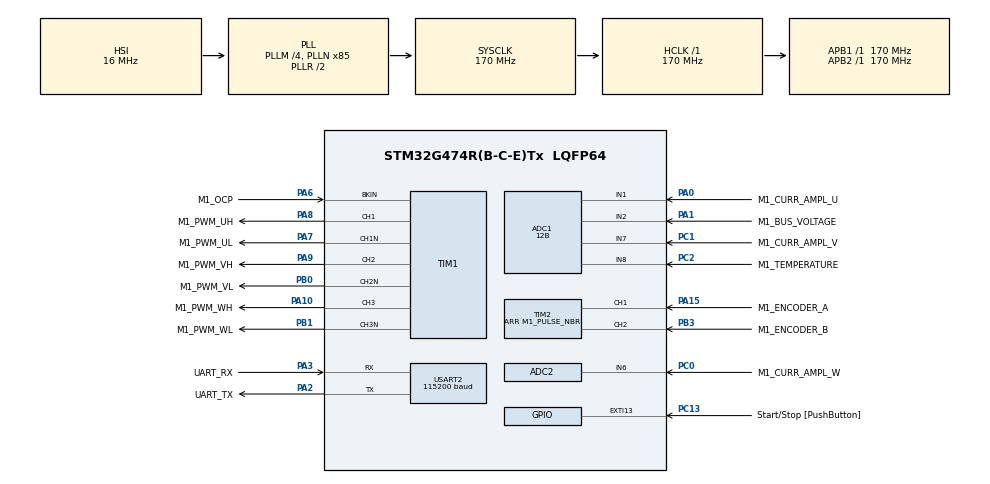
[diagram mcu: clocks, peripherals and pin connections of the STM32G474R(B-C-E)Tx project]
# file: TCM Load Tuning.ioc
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ADC1.Channel-1\#ChannelRegularConversion=ADC_CHANNEL_2
ADC1.Channel-2\#ChannelRegularConversion=ADC_CHANNEL_8
ADC1.ClockPrescaler=ADC_CLOCK_ASYNC_DIV1
ADC1.ContinuousConvMode=DISABLE
ADC1.DMAContinuousRequests=DISABLE
ADC1.DataAlign=ADC_DATAALIGN_LEFT
ADC1.DiscontinuousConvMode=DISABLE
ADC1.EOCSelection=ADC_EOC_SINGLE_CONV
ADC1.EnableAnalogWatchDog1=false
ADC1.EnableAnalogWatchDog2=false
ADC1.EnableAnalogWatchDog3=false
ADC1.EnableInjectedConversion=ENABLE
ADC1.EnableRegularConversion=ENABLE
ADC1.ExternalTrigConv=ADC_SOFTWARE_START
ADC1.ExternalTrigConvEdge=ADC_EXTERNALTRIGCONVEDGE_NONE
ADC1.ExternalTrigInjecConv=ADC_EXTERNALTRIGINJEC_T1_TRGO
ADC1.ExternalTrigInjecConvEdge=ADC_EXTERNALTRIGINJECCONV_EDGE_RISING
ADC1.InjNumberOfConversion=2
ADC1.InjectedChannel-1\#ChannelInjectedConversion=ADC_CHANNEL_1
ADC1.InjectedChannel-2\#ChannelInjectedConversion=ADC_CHANNEL_7
ADC1.InjectedConvMode=None
ADC1.InjectedOffset-1\#ChannelInjectedConversion=0
ADC1.InjectedOffset-2\#ChannelInjectedConversion=0
ADC1.InjectedOffsetNumber-1\#ChannelInjectedConversion=ADC_OFFSET_NONE
ADC1.InjectedOffsetNumber-2\#ChannelInjectedConversion=ADC_OFFSET_NONE
ADC1.InjectedRank-1\#ChannelInjectedConversion=1
ADC1.InjectedRank-2\#ChannelInjectedConversion=2
ADC1.InjectedSamplingTime-1\#ChannelInjectedConversion=ADC_SAMPLETIME_6CYCLES_5
ADC1.InjectedSamplingTime-2\#ChannelInjectedConversion=ADC_SAMPLETIME_6CYCLES_5
ADC1.LowPowerAutoWait=DISABLE
ADC1.NbrOfConversion=2
ADC1.NbrOfConversionFlag=1
ADC1.Offset-1\#ChannelRegularConversion=0
ADC1.Offset-2\#ChannelRegularConversion=0
ADC1.OffsetNumber-1\#ChannelRegularConversion=ADC_OFFSET_NONE
ADC1.OffsetNumber-2\#ChannelRegularConversion=ADC_OFFSET_NONE
ADC1.Overrun=ADC_OVR_DATA_PRESERVED
ADC1.Rank-1\#ChannelRegularConversion=1
ADC1.Rank-2\#ChannelRegularConversion=2
ADC1.Resolution=ADC_RESOLUTION_12B
ADC1.SamplingTime-1\#ChannelRegularConversion=ADC_SAMPLETIME_47CYCLES_5
ADC1.SamplingTime-2\#ChannelRegularConversion=ADC_SAMPLETIME_47CYCLES_5
ADC1.ScanConvMode=ADC_SCAN_ENABLE
ADC1.master=1
ADC2.ClockPrescaler=ADC_CLOCK_ASYNC_DIV1
ADC2.ContinuousConvMode=DISABLE
ADC2.DMAContinuousRequests=DISABLE
ADC2.DataAlign=ADC_DATAALIGN_LEFT
ADC2.DiscontinuousConvMode=DISABLE
ADC2.EOCSelection=ADC_EOC_SINGLE_CONV
ADC2.EnableAnalogWatchDog1=false
ADC2.EnableAnalogWatchDog2=false
ADC2.EnableAnalogWatchDog3=false
ADC2.EnableInjectedConversion=ENABLE
ADC2.EnableRegularConversion=DISABLE
ADC2.ExternalTrigInjecConv=ADC_EXTERNALTRIGINJEC_T1_TRGO
ADC2.ExternalTrigInjecConvEdge=ADC_EXTERNALTRIGINJECCONV_EDGE_RISING
ADC2.InjNumberOfConversion=2
ADC2.InjectedChannel-1\#ChannelInjectedConversion=ADC_CHANNEL_7
ADC2.InjectedChannel-2\#ChannelInjectedConversion=ADC_CHANNEL_6
ADC2.InjectedConvMode=None
ADC2.InjectedOffset-1\#ChannelInjectedConversion=0
ADC2.InjectedOffset-2\#ChannelInjectedConversion=0
ADC2.InjectedOffsetNumber-1\#ChannelInjectedConversion=ADC_OFFSET_NONE
ADC2.InjectedOffsetNumber-2\#ChannelInjectedConversion=ADC_OFFSET_NONE
ADC2.InjectedRank-1\#ChannelInjectedConversion=1
ADC2.InjectedRank-2\#ChannelInjectedConversion=2
ADC2.InjectedSamplingTime-1\#ChannelInjectedConversion=ADC_SAMPLETIME_6CYCLES_5
ADC2.InjectedSamplingTime-2\#ChannelInjectedConversion=ADC_SAMPLETIME_6CYCLES_5
ADC2.LowPowerAutoWait=DISABLE
ADC2.Overrun=ADC_OVR_DATA_PRESERVED
ADC2.Resolution=ADC_RESOLUTION_12B
ADC2.ScanConvMode=ADC_SCAN_ENABLE
ADC2.master=1
Dma.Request0=USART2_RX
Dma.Request1=USART2_TX
Dma.USART2_RX.0.Direction=DMA_PERIPH_TO_MEMORY
Dma.USART2_RX.0.EventEnable=DISABLE
Dma.USART2_RX.0.Instance=DMA1_Channel1
Dma.USART2_RX.0.MemDataAlignment=DMA_MDATAALIGN_BYTE
Dma.USART2_RX.0.MemInc=DMA_MINC_ENABLE
Dma.USART2_RX.0.Mode=DMA_NORMAL
Dma.USART2_RX.0.PeriphDataAlignment=DMA_PDATAALIGN_BYTE
Dma.USART2_RX.0.PeriphInc=DMA_PINC_DISABLE
Dma.USART2_RX.0.Polarity=HAL_DMAMUX_REQ_GEN_RISING
Dma.USART2_RX.0.Priority=DMA_PRIORITY_LOW
Dma.USART2_RX.0.RequestNumber=1
Dma.USART2_RX.0.SignalID=NONE
Dma.USART2_RX.0.SyncEnable=DISABLE
Dma.USART2_RX.0.SyncPolarity=HAL_DMAMUX_SYNC_NO_EVENT
Dma.USART2_RX.0.SyncRequestNumber=1
Dma.USART2_RX.0.SyncSignalID=NONE
Dma.USART2_TX.1.Direction=DMA_MEMORY_TO_PERIPH
Dma.USART2_TX.1.EventEnable=DISABLE
Dma.USART2_TX.1.Instance=DMA1_Channel2
Dma.USART2_TX.1.MemDataAlignment=DMA_MDATAALIGN_BYTE
Dma.USART2_TX.1.MemInc=DMA_MINC_ENABLE
Dma.USART2_TX.1.Mode=DMA_NORMAL
Dma.USART2_TX.1.PeriphDataAlignment=DMA_PDATAALIGN_BYTE
Dma.USART2_TX.1.PeriphInc=DMA_PINC_DISABLE
Dma.USART2_TX.1.Polarity=HAL_DMAMUX_REQ_GEN_RISING
Dma.USART2_TX.1.Priority=DMA_PRIORITY_LOW
Dma.USART2_TX.1.RequestNumber=1
Dma.USART2_TX.1.SignalID=NONE
Dma.USART2_TX.1.SyncEnable=DISABLE
Dma.USART2_TX.1.SyncPolarity=HAL_DMAMUX_SYNC_NO_EVENT
Dma.USART2_TX.1.SyncRequestNumber=1
Dma.USART2_TX.1.SyncSignalID=NONE
ExtraMW=MotorControl
ExtraMW.MotorControl.Config=MotorControl
ExtraMW.MotorControl.Mode=MotorControl
ExtraMW.MotorControl.Root=MCSDK_v6.3.0-Full/MotorControl
ExtraMW.MotorControl.Template=templates
Mcu.Family=STM32G4
Mcu.Name=STM32G474R(B-C-E)Tx
Mcu.Package=LQFP64
MotorControl.ADC_1_PERIPH=ADC1
MotorControl.ADC_2_PERIPH=ADC2
MotorControl.ADC_AHBPERIPH=RCC_AHBPeriph_ADC12
MotorControl.ADC_CLOCK_WB_DIV=1
MotorControl.ADC_PERIPH=ADC1
MotorControl.ADC_REFERENCE_VOLTAGE=3.3
MotorControl.BOARD=NUCLEO-G474RE
MotorControl.BUS_VOLTAGE_READING=true
MotorControl.CCMRAM_ENABLED=false
MotorControl.CLOCK_FREQUENCY=CPU_CLK_170_MHZ
MotorControl.CLOCK_SOURCE=EXTERNAL
MotorControl.CPU_CLK_170_MHZ=true
MotorControl.CTLBOARD_NAME=NUCLEO-G474RE
MotorControl.CUBE_MX_VER=6.12.1
MotorControl.CURRENT_READING_TOPOLOGY=THREE_SHUNT_INDEPENDENT_RESOURCES
MotorControl.CURR_SAMPLING_TIME=6
MotorControl.DBG_MCU_LOAD_MEASURE=false
MotorControl.DEBUG_DAC_FUNCTIONALITY_EN=false
MotorControl.DRIVES_NUMBER_SELECTION=SINGLEDRIVE
MotorControl.DRIVE_NUMBER=1
MotorControl.DRIVE_TYPE=FOC
MotorControl.EMERGENCY_STOP_GPIO_PIN=LL_GPIO_PIN_6
MotorControl.EMERGENCY_STOP_GPIO_PORT=GPIOA
MotorControl.ENCODER=true
MotorControl.ENCODER_AVAILABLE=true
MotorControl.ENCODER_PPR=5000
MotorControl.ENC_A_GPIO_PIN=LL_GPIO_PIN_15
MotorControl.ENC_A_GPIO_PORT=GPIOA
MotorControl.ENC_B_GPIO_PIN=LL_GPIO_PIN_3
MotorControl.ENC_B_GPIO_PORT=GPIOB
MotorControl.ENC_ICx_FILTER=119
MotorControl.ENC_INVERT_SPEED=false
MotorControl.ENC_TIMER_SELECTION=ENC_TIM2
MotorControl.ENC_USE_CH3=false
MotorControl.EXT_CLK_24_MHZ=true
MotorControl.EXT_CLOCK_FREQUENCY=EXT_CLK_24_MHZ
MotorControl.FEEDBACK_NET_FILTERING=false
MotorControl.HALL_SENSORS_AVAILABLE=false
MotorControl.HIGH_SIDE_IDLE_STATE=false
MotorControl.HWV_CS=ThreeShunt_AmplifiedCurrents
MotorControl.HWV_OCP=OnPowerStageOCP
MotorControl.HWV_PWM=DrivingHighAndLowSides
MotorControl.HW_COMPLEMENTED_LOW_SIDE=false
MotorControl.HW_DEAD_TIME_NS=1000
MotorControl.IPs=CORDIC,SYS,NVIC,RCC,MotorControl,TIM1,ADC1,ADC2,TIM2,USART2,DMA
MotorControl.LOW_MEMORY_FOOTPRINT_REG=false
MotorControl.LOW_SIDE_IDLE_STATE=false
MotorControl.LOW_SIDE_SIGNALS_ENABLING=LS_PWM_TIMER
MotorControl.M1_ALIGNMENT_ANGLE_DEG=90
MotorControl.M1_ALIGNMENT_DURATION=700
MotorControl.M1_AMPLIFICATION_GAIN=5.18
MotorControl.M1_ANGC={0,0,0,0,0,0,0,0}
MotorControl.M1_AUXILIARY_SPEED_SENSOR=NONE
MotorControl.M1_BOARD_MAX_CURRENT=5
MotorControl.M1_BUS_VOLTAGE_READING=true
MotorControl.M1_COMMUTATION_STEP_TIME_BUF_SIZE=12
MotorControl.M1_CONSTANT1_D=499039
MotorControl.M1_CONSTANT1_Q=408714
MotorControl.M1_CONSTANT2_QD=92859
MotorControl.M1_CS_ADC_NUM=2
MotorControl.M1_CS_ADC_PHASE_SHARED=V
MotorControl.M1_CS_ADC_U=ADC1
MotorControl.M1_CS_ADC_W=ADC2
MotorControl.M1_CS_CHANNEL_SHARED=7
MotorControl.M1_CS_CHANNEL_U=1
MotorControl.M1_CS_CHANNEL_V=7
MotorControl.M1_CS_CHANNEL_W=6
MotorControl.M1_CURRENT_AMPLIFICATION_TOPO=EXTERNAL
MotorControl.M1_CURRENT_SENSING_TOPO=THREE_SHUNT
MotorControl.M1_CURR_SAMPLING_TIME=6
MotorControl.M1_DBG_OPEN_LOOP_ENABLE=false
MotorControl.M1_DC_CURRENT_RS_MEAS=5
MotorControl.M1_DEFAULT_CONTROL_MODE=STC_SPEED_MODE
MotorControl.M1_DEFAULT_FLUX_COMPONENT=0
MotorControl.M1_DEFAULT_TARGET_SPEED_RPM=0
MotorControl.M1_DEFAULT_TORQUE_COMPONENT=0
MotorControl.M1_DISCONTINUOUS_PWM=false
MotorControl.M1_DP_TOPOLOGY=NONE
MotorControl.M1_DRIVE_TYPE=FOC
MotorControl.M1_ENCODER_PPR=5000
MotorControl.M1_ENC_AVERAGING_FIFO_DEPTH=16
MotorControl.M1_ENC_A_GPIO_PIN=LL_GPIO_PIN_15
MotorControl.M1_ENC_A_GPIO_PORT=GPIOA
MotorControl.M1_ENC_B_GPIO_PIN=LL_GPIO_PIN_3
MotorControl.M1_ENC_B_GPIO_PORT=GPIOB
MotorControl.M1_ENC_ICx_FILTER=119
MotorControl.M1_ENC_TIMER_SELECTION=ENC_TIM2
MotorControl.M1_ENC_USE_CH3=false
MotorControl.M1_FEED_FORWARD_CURRENT_REG_ENABLING=false
MotorControl.M1_FINAL_I_ALIGNMENT=5
MotorControl.M1_FLUX_WEAKENING_ENABLING=false
MotorControl.M1_FW_KIDIV=32768
MotorControl.M1_FW_KI_GAIN=5000
MotorControl.M1_FW_KPDIV=32768
MotorControl.M1_FW_KP_GAIN=3000
MotorControl.M1_FW_VOLTAGE_REF=985
MotorControl.M1_HALL_PHASE_SHIFT=300
MotorControl.M1_HALL_SENSORS_PLACEMENT=DEGREES_120
MotorControl.M1_HIGH_SIDE_IDLE_STATE=false
MotorControl.M1_HW_DEAD_TIME_NS=1000
MotorControl.M1_ICL_ENABLED=false
MotorControl.M1_ID_DEMAG=-5
MotorControl.M1_IQMAX=5
MotorControl.M1_LDLQ_RATIO=1.221
MotorControl.M1_LOW_SIDE_IDLE_STATE=false
MotorControl.M1_LOW_SIDE_SIGNALS_ENABLING=LS_PWM_TIMER
MotorControl.M1_LS=0.000789
MotorControl.M1_MAX_APPLICATION_SPEED=1200
MotorControl.M1_MAX_MODULATION_INDEX=94
MotorControl.M1_MIN_APPLICATION_SPEED=0
MotorControl.M1_MOTOR_MAX_SPEED_RPM=1200
MotorControl.M1_MOTOR_NAME=GEMS
MotorControl.M1_MOTOR_RATED_FLUX=0.286835249
MotorControl.M1_MOTOR_VOLTAGE_CONSTANT=11.7
MotorControl.M1_MTPA_ENABLING=false
MotorControl.M1_NOMINAL_BUS_VOLTAGE_V=24
MotorControl.M1_NOMINAL_CURRENT=5
MotorControl.M1_OCP_BKIN_FILTER=3
MotorControl.M1_OCP_BKIN_MODE=EXT_MODE
MotorControl.M1_OCP_BKIN_POLARITY=EMSTOP_ACTIVE_LOW
MotorControl.M1_OCP_DESTINATION=TIM_BKIN
MotorControl.M1_OCP_TOPOLOGY=EXTERNAL
MotorControl.M1_OFST={0,0,0,0,0,0,0,0}
MotorControl.M1_ON_OVER_VOLTAGE=TURN_OFF_PWM
MotorControl.M1_OVERMODULATION=false
MotorControl.M1_OVP_THRESHOLD_HIGH=29
MotorControl.M1_OV_TEMPERATURE_HYSTERESIS_C=10
MotorControl.M1_OV_TEMPERATURE_PROT_ENABLING=true
MotorControl.M1_OV_TEMPERATURE_THRESHOLD_C=110
MotorControl.M1_OV_VOLTAGE_PROT_ENABLING=true
MotorControl.M1_OV_VOLTAGE_THRESHOLD_V=29
MotorControl.M1_PID_FLUX_KD_DEFAULT=100
MotorControl.M1_PID_FLUX_KI_DEFAULT=3100
MotorControl.M1_PID_FLUX_KP_DEFAULT=1300
MotorControl.M1_PID_SPEED_KD_DEFAULT=0
MotorControl.M1_PID_SPEED_KI_DEFAULT=1110
MotorControl.M1_PID_SPEED_KP_DEFAULT=8456
MotorControl.M1_PID_TORQUE_KD_DEFAULT=100
MotorControl.M1_PID_TORQUE_KI_DEFAULT=3100
MotorControl.M1_PID_TORQUE_KP_DEFAULT=1300
MotorControl.M1_POLE_PAIR_NUM=2
MotorControl.M1_POSITION_CTRL_ENABLING=false
MotorControl.M1_POTENTIOMETER_ENABLE=false
MotorControl.M1_POWERBOARD_NAME=X-NUCLEO-IHM08M1
MotorControl.M1_PWM_CHARGE_BOOT_CAP_DUTY_CYCLES=0.000
MotorControl.M1_PWM_CHARGE_BOOT_CAP_MS=10
MotorControl.M1_PWM_DRIVER_PN=L6398
MotorControl.M1_PWM_FREQUENCY=30000
MotorControl.M1_PWM_TIMER_BRK_IRQ=TIM1_BRK_TIM15
MotorControl.M1_PWM_TIMER_SELECTION=PWM_TIM1
MotorControl.M1_PWM_TIMER_UP_IRQ=TIM1_UP_TIM16
MotorControl.M1_REGULATION_EXECUTION_RATE=3
MotorControl.M1_RS=0.77
MotorControl.M1_RSHUNT=0.01
MotorControl.M1_SEGDIV=0
MotorControl.M1_SHARED_SIGNAL_ENABLE=false
MotorControl.M1_SPD_DIFFERENTIAL_TERM_ENABLING=false
MotorControl.M1_SPEED_LOOP_FREQUENCY_HZ=2000
MotorControl.M1_SPEED_SENSOR=QUAD_ENCODER
MotorControl.M1_SP_KDDIV=16
MotorControl.M1_SP_KIDIV=256
MotorControl.M1_SP_KPDIV=256
MotorControl.M1_SS_MEAS_ERRORS_BEFORE_FAULTS=3
MotorControl.M1_SW_DEADTIME_NS=850
MotorControl.M1_T0_C=25
MotorControl.M1_TEMPERATURE_READING=true
MotorControl.M1_TEMP_ADC_SAMPLING_TIME=47
MotorControl.M1_TEMP_FDBK_ADC=ADC1
MotorControl.M1_TEMP_FDBK_CHANNEL=ADC_CHANNEL_8
MotorControl.M1_TF_KDDIV=8192
MotorControl.M1_TF_KIDIV=8192
MotorControl.M1_TF_KPDIV=128
MotorControl.M1_TNOISE_NS=1000
MotorControl.M1_TRISE_NS=1000
MotorControl.M1_T_MAX=110
MotorControl.M1_UD_VOLTAGE_THRESHOLD_V=10
MotorControl.M1_USE_INTERNAL_OPAMP=false
MotorControl.M1_UV_VOLTAGE_PROT_ENABLING=true
MotorControl.M1_V0_V=1.055
MotorControl.M1_VBUS_ADC=ADC1
MotorControl.M1_VBUS_ADC_SAMPLING_TIME=47
MotorControl.M1_VBUS_CHANNEL=ADC_CHANNEL_2
MotorControl.M1_VBUS_PARTITIONING_FACTOR=0.052164840897235255
MotorControl.M1_dV_dT=0.023
MotorControl.MAX_READABLE_CURRENT=31.845
MotorControl.MCPA_OVER_UART_A_STREAM=10
MotorControl.MCP_ASPEP_OVER_UART=true
MotorControl.MCP_ASYNC_EN=true
MotorControl.MCP_ASYNC_OVER_ASPEP_EN=true
MotorControl.MCP_ASYNC_OVER_UART_A_EN=true
MotorControl.MCP_DMACH_RX_UART_A=1
MotorControl.MCP_DMACH_TX_UART_A=2
MotorControl.MCP_DMA_RX_UART_A=DMA1
MotorControl.MCP_DMA_TX_UART_A=DMA1
MotorControl.MCP_EN=true
MotorControl.MCP_IRQ_HANDLER_DMA_RX_UART_A=DMA1_Channel1_IRQHandler
MotorControl.MCP_IRQ_HANDLER_UART_A=USART2_IRQHandler
MotorControl.MCP_OVER_ASPEP_EN=true
MotorControl.MCP_OVER_STLNK_EN=false
MotorControl.MCP_OVER_UART_A_EN=true
MotorControl.MCP_OVER_UART_B_EN=false
MotorControl.MCP_RX_SYNC_PAYLOAD_MAX=128
MotorControl.MCP_TX_ASYNC_PAYLOAD_MAX_UART_A=2048
MotorControl.MCP_TX_SYNC_PAYLOAD_MAX=128
MotorControl.MCU=STM32G474RE
MotorControl.MCU_FAMILY=STM32G4
MotorControl.MCU_LINE=STM32G4x4
MotorControl.MCU_NAME=STM32G474R(B-C-E)Tx
MotorControl.MCU_PACKAGE=LQFP64
MotorControl.MCU_TYPE=STM32G474RE
MotorControl.MCU_USERNAME=STM32G474RETx
MotorControl.MC_WORKBENCH_VERSION=6.3.0
MotorControl.MOTOR_PROFILER=false
MotorControl.MOTOR_TYPE=PMSM
MotorControl.ON_OVER_VOLTAGE=TURN_OFF_PWM
MotorControl.OV_TEMPERATURE_PROT_ENABLING=true
MotorControl.OV_VOLTAGE_PROT_ENABLING=true
MotorControl.PHASE_UH_GPIO_PIN=LL_GPIO_PIN_8
MotorControl.PHASE_UH_GPIO_PORT=GPIOA
MotorControl.PHASE_UH_POLARITY=H_ACTIVE_HIGH
MotorControl.PHASE_UL_GPIO_PIN=LL_GPIO_PIN_7
MotorControl.PHASE_UL_GPIO_PORT=GPIOA
MotorControl.PHASE_UL_POLARITY=L_ACTIVE_LOW
MotorControl.PHASE_U_CURR_ADC=ADC1
MotorControl.PHASE_U_CURR_CHANNEL=ADC_CHANNEL_1
MotorControl.PHASE_U_GPIO_PIN=LL_GPIO_PIN_0
MotorControl.PHASE_U_GPIO_PORT=GPIOA
MotorControl.PHASE_VH_GPIO_PIN=LL_GPIO_PIN_9
MotorControl.PHASE_VH_GPIO_PORT=GPIOA
MotorControl.PHASE_VH_POLARITY=H_ACTIVE_HIGH
MotorControl.PHASE_VL_GPIO_PIN=LL_GPIO_PIN_0
MotorControl.PHASE_VL_GPIO_PORT=GPIOB
MotorControl.PHASE_VL_POLARITY=L_ACTIVE_LOW
MotorControl.PHASE_V_CURR_ADC=ADC1
MotorControl.PHASE_V_CURR_CHANNEL=ADC_CHANNEL_7
MotorControl.PHASE_V_GPIO_PIN=LL_GPIO_PIN_1
MotorControl.PHASE_V_GPIO_PORT=GPIOC
MotorControl.PHASE_V_S_CURR_ADC=ADC2
MotorControl.PHASE_V_S_CURR_CHANNEL=ADC_CHANNEL_7
MotorControl.PHASE_V_S_GPIO_PIN=LL_GPIO_PIN_1
MotorControl.PHASE_V_S_GPIO_PORT=GPIOC
MotorControl.PHASE_WH_GPIO_PIN=LL_GPIO_PIN_10
MotorControl.PHASE_WH_GPIO_PORT=GPIOA
MotorControl.PHASE_WH_POLARITY=H_ACTIVE_HIGH
MotorControl.PHASE_WL_GPIO_PIN=LL_GPIO_PIN_1
MotorControl.PHASE_WL_GPIO_PORT=GPIOB
MotorControl.PHASE_WL_POLARITY=L_ACTIVE_LOW
MotorControl.PHASE_W_CURR_ADC=ADC2
MotorControl.PHASE_W_CURR_CHANNEL=ADC_CHANNEL_6
MotorControl.PHASE_W_GPIO_PIN=LL_GPIO_PIN_0
MotorControl.PHASE_W_GPIO_PORT=GPIOC
MotorControl.POTENTIOMETER_READING=false
MotorControl.PWM_FREQUENCY=30000
MotorControl.PWM_TIMER_SELECTION=PWM_TIM1
MotorControl.REGULATION_EXECUTION_RATE=3
MotorControl.RTOS=NONE
MotorControl.R_BRAKE_SWITCH_OFF_THRES_V=23
MotorControl.SINGLEDRIVE=true
MotorControl.SPD_DIFFERENTIAL_TERM_ENABLING=false
MotorControl.SPEED_SENSOR_SELECTION=ENCODER
MotorControl.START_STOP_BTN=true
MotorControl.START_STOP_GPIO_PIN=LL_GPIO_PIN_13
MotorControl.START_STOP_GPIO_PORT=GPIOC
MotorControl.START_STOP_POLARITY=DIN_ACTIVE_LOW
MotorControl.START_STOP_POLARITY_EDGE=GPIO_NOPULL
MotorControl.STM32G474RE=true
MotorControl.SW_DEADTIME_NS=850
MotorControl.TEMPERATURE_READING=true
MotorControl.TEMP_ADC_SAMPLING_TIME=47
MotorControl.TEMP_FDBK_ADC=ADC1
MotorControl.TEMP_FDBK_CHANNEL=ADC_CHANNEL_8
MotorControl.TEMP_FDBK_GPIO_PIN=LL_GPIO_PIN_2
MotorControl.TEMP_FDBK_GPIO_PORT=GPIOC
MotorControl.TFDIFFERENTIAL_TERM_ENABLING=false
MotorControl.THREE_SHUNT_INDEPENDENT_RESOURCES=true
MotorControl.TRISE_NS=1000
MotorControl.USART_RX_GPIO_PIN=LL_GPIO_PIN_3
MotorControl.USART_RX_GPIO_PORT=GPIOA
MotorControl.USART_SELECTION=USE_USART2
MotorControl.USART_SELECTION_A=USART2
MotorControl.USART_SPEED=115200
MotorControl.USART_TX_GPIO_PIN=LL_GPIO_PIN_2
MotorControl.USART_TX_GPIO_PORT=GPIOA
MotorControl.USE_3OPAMPS=false
MotorControl.USE_INTERNAL_OPAMP=false
MotorControl.UV_VOLTAGE_PROT_ENABLING=true
MotorControl.VBUS_ADC=ADC1
MotorControl.VBUS_ADC_SAMPLING_TIME=47
MotorControl.VBUS_CHANNEL=ADC_CHANNEL_2
MotorControl.VBUS_GPIO_PIN=LL_GPIO_PIN_1
MotorControl.VBUS_GPIO_PORT=GPIOA
MotorControl.WB_UI_CUTOFF_FREQUENCY=6000
MotorControl.WB_UI_ENCODER_HAS_INDEX_PIN=false
MotorControl.WB_UI_FLUX_TARGET=0
MotorControl.WB_UI_FRICTION=42.02
MotorControl.WB_UI_INERTIA=0.04
MotorControl.WB_UI_MAGNETIC_STRUCTURE=I-PMSM
MotorControl.WB_UI_MAX_CURRENT=5
MotorControl.WB_UI_MAX_NOMINAL_DC_VOLTAGE=24
MotorControl.WB_UI_MAX_PWMFREQUENCY=100000
MotorControl.WB_UI_MOTOR_DESCRIPTION=Profiled
MotorControl.WB_UI_OCP_DISABLING_ENABLE=false
MotorControl.WB_UI_OCP_THRESHOLD=30
MotorControl.WB_UI_PW_BOARD_MAX_RATED_CURRENT=30
MotorControl.WB_UI_PW_BOARD_MAX_VOLTAGE=48
MotorControl.WB_UI_PW_BOARD_MIN_VOLTAGE=10
MotorControl.WB_UI_VPOL=1.71
MotorControl.WB_to_Mx_template_version=24-04-17
MotorControl.WB_to_Mx_version=6.2.3
NVIC.ADC1_2_IRQn=true\:2\:0\:true\:true\:false\:5\:true\:true\:true
NVIC.DMA1_Channel1_IRQn=true\:3\:0\:true\:true\:false\:2\:true\:true\:true
NVIC.EXTI15_10_IRQn=true\:3\:0\:false\:true\:false\:7\:true\:true\:true
NVIC.PriorityGroup=NVIC_PRIORITYGROUP_3
NVIC.TIM1_BRK_TIM15_IRQn=true\:4\:1\:true\:true\:false\:3\:true\:true\:true
NVIC.TIM1_UP_TIM16_IRQn=true\:0\:0\:false\:true\:false\:4\:true\:true\:true
NVIC.TIM2_IRQn=true\:3\:0\:false\:true\:false\:6\:true\:true\:true
NVIC.USART2_IRQn=true\:3\:1\:true\:true\:false\:1\:true\:true\:true
PA0.GPIO_Label=M1_CURR_AMPL_U
PA0.Mode=IN1-Single-Ended
PA0.Signal=ADC1_IN1
PA1.GPIO_Label=M1_BUS_VOLTAGE
PA1.Mode=IN2-Single-Ended
PA1.Signal=ADC1_IN2
PA10.GPIO_Label=M1_PWM_WH
PA10.GPIO_PuPd=GPIO_PULLDOWN
PA10.GPIO_Speed=GPIO_SPEED_FREQ_HIGH
PA10.Signal=S_TIM1_CH3
PA13.GPIO_Label=TMS
PA13.Mode=Serial_Wire
PA13.Signal=SYS_JTMS-SWDIO
PA14.GPIO_Label=TCK
PA14.Mode=Serial_Wire
PA14.Signal=SYS_JTCK-SWCLK
PA15.GPIO_Label=M1_ENCODER_A
PA15.Signal=S_TIM2_CH1
PA2.GPIO_Label=UART_TX
PA2.GPIO_Mode=GPIO_MODE_AF_PP
PA2.GPIO_PuPd=GPIO_NOPULL
PA2.GPIO_Speed=GPIO_SPEED_FREQ_LOW
PA2.Mode=Asynchronous
PA2.Signal=USART2_TX
PA3.GPIO_Label=UART_RX
PA3.GPIO_Mode=GPIO_MODE_AF_PP
PA3.GPIO_PuPd=GPIO_NOPULL
PA3.GPIO_Speed=GPIO_SPEED_FREQ_LOW
PA3.Mode=Asynchronous
PA3.Signal=USART2_RX
PA6.GPIO_Label=M1_OCP
PA6.GPIO_PuPd=GPIO_PULLUP
PA6.Mode=Activate-Break-Input
PA6.Signal=TIM1_BKIN
PA7.GPIO_Label=M1_PWM_UL
PA7.GPIO_PuPd=GPIO_PULLUP
PA7.GPIO_Speed=GPIO_SPEED_FREQ_HIGH
PA7.Mode=PWM Generation1 CH1 CH1N
PA7.Signal=TIM1_CH1N
PA8.GPIO_Label=M1_PWM_UH
PA8.GPIO_PuPd=GPIO_PULLDOWN
PA8.GPIO_Speed=GPIO_SPEED_FREQ_HIGH
PA8.Signal=S_TIM1_CH1
PA9.GPIO_Label=M1_PWM_VH
PA9.GPIO_PuPd=GPIO_PULLDOWN
PA9.GPIO_Speed=GPIO_SPEED_FREQ_HIGH
PA9.Signal=S_TIM1_CH2
PB0.GPIO_Label=M1_PWM_VL
PB0.GPIO_PuPd=GPIO_PULLUP
PB0.GPIO_Speed=GPIO_SPEED_FREQ_HIGH
PB0.Mode=PWM Generation2 CH2 CH2N
PB0.Signal=TIM1_CH2N
PB1.GPIO_Label=M1_PWM_WL
PB1.GPIO_PuPd=GPIO_PULLUP
PB1.GPIO_Speed=GPIO_SPEED_FREQ_HIGH
PB1.Mode=PWM Generation3 CH3 CH3N
PB1.Signal=TIM1_CH3N
PB3.GPIO_Label=M1_ENCODER_B
PB3.Signal=S_TIM2_CH2
PC0.GPIO_Label=M1_CURR_AMPL_W
PC0.Mode=IN6-Single-Ended
PC0.Signal=ADC2_IN6
PC1.GPIO_Label=M1_CURR_AMPL_V
PC1.Signal=SharedAnalog_PC1
PC13.GPIO_Label=Start/Stop [PushButton]
PC13.GPIO_ModeDefaultEXTI=GPIO_MODE_IT_FALLING
PC13.GPIO_PuPd=GPIO_NOPULL
PC13.Signal=GPXTI13
PC2.GPIO_Label=M1_TEMPERATURE
PC2.Mode=IN8-Single-Ended
PC2.Signal=ADC1_IN8
PF0-OSC_IN.Mode=HSE-External-Oscillator
PF0-OSC_IN.Signal=RCC_OSC_IN
PF1-OSC_OUT.Mode=HSE-External-Oscillator
PF1-OSC_OUT.Signal=RCC_OSC_OUT
ProjectManager.HeapSize=0x200
ProjectManager.StackSize=0x400
ProjectManager.TargetToolchain=STM32CubeIDE
RCC.ADC12CLockSelection=RCC_ADC12CLKSOURCE_PLL
RCC.ADC12Freq_Value=42500000
RCC.ADC345CLockSelection=RCC_ADC345CLKSOURCE_PLL
RCC.ADC345Freq_Value=42500000
RCC.AHBFreq_Value=170000000
RCC.APB1Freq_Value=170000000
RCC.APB1TimFreq_Value=170000000
RCC.APB2Freq_Value=170000000
RCC.APB2TimFreq_Value=170000000
RCC.CK48CLockSelection=RCC_USBCLKSOURCE_PLL
RCC.CortexFreq_Value=170000000
RCC.EXTERNAL_CLOCK_VALUE=12288000
RCC.HCLKFreq_Value=170000000
RCC.HSE_VALUE=24000000
RCC.HSI48_VALUE=48000000
RCC.HSI_VALUE=16000000
RCC.LSE_VALUE=32768
RCC.PLLM=RCC_PLLM_DIV4
RCC.PLLN=85
RCC.PLLP=RCC_PLLP_DIV8
RCC.PREFETCH_ENABLE=1
RCC.SYSCLKFreq_VALUE=170000000
RCC.SYSCLKSource=RCC_SYSCLKSOURCE_PLLCLK
RCC.USBFreq_Value=170000000
RCC.VCOOutputFreq_Value=340000000
SH.S_TIM1_CH1.0=TIM1_CH1,PWM Generation1 CH1 CH1N
SH.S_TIM1_CH2.0=TIM1_CH2,PWM Generation2 CH2 CH2N
SH.S_TIM1_CH3.0=TIM1_CH3,PWM Generation3 CH3 CH3N
SH.S_TIM2_CH1.0=TIM2_CH1,Encoder_Interface
SH.S_TIM2_CH2.0=TIM2_CH2,Encoder_Interface
SH.SharedAnalog_PC1.0=ADC1_IN7,IN7-Single-Ended
SH.SharedAnalog_PC1.1=ADC2_IN7,IN7-Single-Ended
TIM1.AutoReloadPreload=TIM_AUTORELOAD_PRELOAD_DISABLE
TIM1.AutomaticOutput=TIM_AUTOMATICOUTPUT_DISABLE
TIM1.Break2Filter=3
TIM1.Break2Polarity=TIM_BREAK2POLARITY_HIGH
TIM1.Break2State=TIM_BREAK2_DISABLE
TIM1.BreakFilter=3
TIM1.BreakPolarity=TIM_BREAKPOLARITY_HIGH
TIM1.BreakState=TIM_BREAK_ENABLE
TIM1.Channel=TIM_CHANNEL_4
TIM1.Channel-PWM\ Generation1\ CH1\ CH1N=TIM_CHANNEL_1
TIM1.Channel-PWM\ Generation2\ CH2\ CH2N=TIM_CHANNEL_2
TIM1.Channel-PWM\ Generation3\ CH3\ CH3N=TIM_CHANNEL_3
TIM1.Channel-PWM\ Generation4\ No\ Output=TIM_CHANNEL_4
TIM1.ClearInputSource=TIM_CLEARINPUTSOURCE_NONE
TIM1.ClockDivision=TIM_CLOCKDIVISION_DIV2
TIM1.CounterMode=TIM_COUNTERMODE_CENTERALIGNED1
TIM1.DeadTime=((DEAD_TIME_COUNTS) / 2)
TIM1.LockLevel=TIM_LOCKLEVEL_OFF
TIM1.OC1Preload_PWM=ENABLE
TIM1.OC2Preload_PWM=ENABLE
TIM1.OC3Preload_PWM=ENABLE
TIM1.OC4Preload_PWM=ENABLE
TIM1.OCFastMode_PWM=TIM_OCFAST_DISABLE
TIM1.OCIdleState_1=TIM_OCIDLESTATE_RESET
TIM1.OCIdleState_2=TIM_OCIDLESTATE_RESET
TIM1.OCIdleState_3=TIM_OCIDLESTATE_RESET
TIM1.OCIdleState_4=TIM_OCIDLESTATE_RESET
TIM1.OCMode_PWM-PWM\ Generation1\ CH1\ CH1N=TIM_OCMODE_PWM1
TIM1.OCMode_PWM-PWM\ Generation2\ CH2\ CH2N=TIM_OCMODE_PWM1
TIM1.OCMode_PWM-PWM\ Generation3\ CH3\ CH3N=TIM_OCMODE_PWM1
TIM1.OCMode_PWM-PWM\ Generation4\ No\ Output=TIM_OCMODE_PWM2
TIM1.OCNIdleState_1=TIM_OCNIDLESTATE_SET
TIM1.OCNIdleState_2=TIM_OCNIDLESTATE_SET
TIM1.OCNIdleState_3=TIM_OCNIDLESTATE_SET
TIM1.OCNPolarity_1=TIM_OCNPOLARITY_LOW
TIM1.OCNPolarity_2=TIM_OCNPOLARITY_LOW
TIM1.OCNPolarity_3=TIM_OCNPOLARITY_LOW
TIM1.OCPolarity_1=TIM_OCPOLARITY_HIGH
TIM1.OCPolarity_2=TIM_OCPOLARITY_HIGH
TIM1.OCPolarity_3=TIM_OCPOLARITY_HIGH
TIM1.OCPolarity_4=TIM_OCPOLARITY_HIGH
TIM1.OffStateIDLEMode=TIM_OSSI_ENABLE
TIM1.OffStateRunMode=TIM_OSSR_ENABLE
TIM1.PeriodNoDither=((PWM_PERIOD_CYCLES) / 2)
TIM1.Prescaler=((TIM_CLOCK_DIVIDER) - 1)
TIM1.PulseNoDither_1=((PWM_PERIOD_CYCLES) / 4)
TIM1.PulseNoDither_2=((PWM_PERIOD_CYCLES) / 4)
TIM1.PulseNoDither_3=((PWM_PERIOD_CYCLES) / 4)
TIM1.PulseNoDither_4=(((PWM_PERIOD_CYCLES) / 2) - (HTMIN))
TIM1.RepetitionCounter=(REP_COUNTER)
TIM1.SourceBRK2DigInput=TIM_BREAKINPUTSOURCE_DISABLE
TIM1.SourceBRKDigInput=TIM_BREAKINPUTSOURCE_ENABLE
TIM1.SourceBRKDigInputPolarity=TIM_BREAKINPUTSOURCE_POLARITY_LOW
TIM1.TIM_MasterOutputTrigger=TIM_TRGO_OC4REF
TIM1.TIM_MasterOutputTrigger2=TIM_TRGO2_RESET
TIM1.TIM_MasterSlaveMode=TIM_MASTERSLAVEMODE_DISABLE
TIM1.TIM_SlaveMode=TIM_SLAVEMODE_TRIGGER
TIM2.EncoderMode=TIM_ENCODERMODE_TI12
TIM2.IC1Filter=M1_ENC_IC_FILTER
TIM2.IC1Polarity=TIM_ICPOLARITY_RISING
TIM2.IC2Filter=M1_ENC_IC_FILTER
TIM2.IC2Polarity=TIM_ICPOLARITY_RISING
TIM2.PeriodNoDither=M1_PULSE_NBR
USART2.BaudRate=115200
USART2.VirtualMode-Asynchronous=VM_ASYNC
USART2.WordLength=WORDLENGTH_8B
VP_CORDIC_VS_CORDIC.Mode=CORDIC_Activate
VP_MotorControl_MC_ENABLED.Mode=Enabled
VP_SYS_VS_DBSignals.Mode=DisableDeadBatterySignals
VP_TIM1_VS_no_output4.Mode=PWM Generation4 No Output
board=custom

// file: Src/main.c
/* USER CODE BEGIN Header */
/**
  ******************************************************************************
  * @file           : main.c
  * @brief          : Main program body
  ******************************************************************************
  * @attention
  *
  * Copyright (c) 2025 STMicroelectronics.
  * All rights reserved.
  *
  * This software is licensed under terms that can be found in the LICENSE file
  * in the root directory of this software component.
  * If no LICENSE file comes with this software, it is provided AS-IS.
  *
  ******************************************************************************
  */
/* USER CODE END Header */
#include "main.h"

/* USER CODE BEGIN Includes */
#include "MotorCmds.h"
#include "math.h"
#include "stdlib.h"
#include "string.h"
/* USER CODE END Includes */

/* USER CODE BEGIN PD */
#define UART_TICK_TIMEOUT 100
/* USER CODE END PD */

ADC_HandleTypeDef hadc1;
ADC_HandleTypeDef hadc2;

CORDIC_HandleTypeDef hcordic;

TIM_HandleTypeDef htim1;
TIM_HandleTypeDef htim2;

UART_HandleTypeDef huart_MD;
DMA_HandleTypeDef hdma_usart2_rx;
DMA_HandleTypeDef hdma_usart2_tx;

void SystemClock_Config(void);
static void MX_GPIO_Init(void);
//static void MX_DMA_Init(void);
static void MX_ADC1_Init(void);
static void MX_ADC2_Init(void);
static void MX_CORDIC_Init(void);
static void MX_TIM1_Init(void);
static void MX_TIM2_Init(void);
static void MX_USART2_UART_Init(void);
static void MX_NVIC_Init(void);

int main(void)
{

  /* MCU Configuration--------------------------------------------------------*/

  /* Reset of all peripherals, Initializes the Flash interface and the Systick. */
  HAL_Init();

  /* Configure the system clock */
  SystemClock_Config();

  /* Initialize all configured peripherals */
  MX_GPIO_Init();
//  MX_DMA_Init();
  MX_ADC1_Init();
  MX_ADC2_Init();
  MX_CORDIC_Init();
  MX_TIM1_Init();
  MX_TIM2_Init();
  MX_USART2_UART_Init();
  MX_MotorControl_Init();

  /* Initialize interrupts */
  MX_NVIC_Init();
  /* USER CODE BEGIN 2 */

    uint8_t CmdBuf[256] = {0};
    uint8_t RspBuf[256] = {0};
	uint32_t RspLen = 0;

	GPIO_PinState userButton;
	float prevDist = 0;

	unsigned long prev_time = 0;
	unsigned long pres_time = 0;
	float jogTime = 0;
	float jogDist = 0;
//	float mm_min_send = 0.0;

	StdReturn_t stdRet;
	HAL_UART_Transmit(&huart_MD, (uint8_t *)"Welcome to TCM Motor Drive", 28, UART_TICK_TIMEOUT);

  /* USER CODE END 2 */

  /* Infinite loop */
  /* USER CODE BEGIN WHILE */
  while (1)
  {
  	  HAL_UART_Receive(&huart_MD, CmdBuf, 256, 100);

  	  if(CmdBuf[0] != 0)
  	  {
  		  stdRet = Cmd_Process(CmdBuf, RspBuf, &RspLen);
  		  CmdBuf[0] = 0;

  		  if(RET_OK != stdRet)
  			  Send_ErrorMsg(stdRet);		// Change to Send_ErrorCode(stdRet) afterwords.
  	  }

  	  userButton = HAL_GPIO_ReadPin(GPIOC, GPIO_PIN_13);
  	  if(userButton == GPIO_PIN_SET)
  	  {
  		  prevDist = Motor_GetDistance();
  		  Motor_SetDistance(500);
  		  Motor_Run(false);

  		  prev_time = HAL_GetTick();

  		  while(1)
  		  {
  			  userButton = HAL_GPIO_ReadPin(GPIOC, GPIO_PIN_13);
  			  if(userButton == GPIO_PIN_RESET)
  			  {
  				  pres_time = HAL_GetTick();
  				  jogTime = (pres_time - prev_time) / (1000.0 * 60.0);		// Minutes		// Should be done by calculating the mechanical angle later
  				  jogDist = Motor_GetSpeed() * jogTime * ((Motor_GetDirection()) ? 1 : -1);
  				  Motor_SetZeroPos(Motor_GetZeroPos() - jogDist);

  				  HAL_Delay(500);
  				  Motor_Stop(false);
  				  Motor_ResetDriveParams();//MX_MotorControl_Init();
  				  break;
  			  }
  		  }

  		  Motor_SetDistance(prevDist);
  		  HAL_Delay(500);
  		  Motor_Start();
  	  }

//  	  if((HAL_GetTick() - Motor_GetRunTick() > UART_TICK_TIMEOUT) && (pMCI[M1]->CommandState != MCI_COMMAND_EXECUTED_SUCCESSFULLY))
//  	  {
//  		  Motor_SetRunTick(HAL_GetTick());
//  		  mm_min_send = (((float)(SpeednTorqCtrlM1.SPD->hAvrMecSpeedUnit))/6.0)*5.08;
//  		  sendToPort(&huart_MD, mm_min_send);
//  	  }

      /* USER CODE END WHILE */

    }
}

void SystemClock_Config(void)
{
  RCC_OscInitTypeDef RCC_OscInitStruct = {0};
  RCC_ClkInitTypeDef RCC_ClkInitStruct = {0};

  /** Configure the main internal regulator output voltage
  */
  HAL_PWREx_ControlVoltageScaling(PWR_REGULATOR_VOLTAGE_SCALE1_BOOST);

  /** Initializes the RCC Oscillators according to the specified parameters
  * in the RCC_OscInitTypeDef structure.
  */
  RCC_OscInitStruct.OscillatorType = RCC_OSCILLATORTYPE_HSI;
  RCC_OscInitStruct.HSIState = RCC_HSI_ON;
  RCC_OscInitStruct.HSICalibrationValue = RCC_HSICALIBRATION_DEFAULT;
  RCC_OscInitStruct.PLL.PLLState = RCC_PLL_ON;
  RCC_OscInitStruct.PLL.PLLSource = RCC_PLLSOURCE_HSI;
  RCC_OscInitStruct.PLL.PLLM = RCC_PLLM_DIV4;
  RCC_OscInitStruct.PLL.PLLN = 85;
  RCC_OscInitStruct.PLL.PLLP = RCC_PLLP_DIV8;
  RCC_OscInitStruct.PLL.PLLQ = RCC_PLLQ_DIV2;
  RCC_OscInitStruct.PLL.PLLR = RCC_PLLR_DIV2;
  if (HAL_RCC_OscConfig(&RCC_OscInitStruct) != HAL_OK)
  {
    Error_Handler();
  }

  /** Initializes the CPU, AHB and APB buses clocks
  */
  RCC_ClkInitStruct.ClockType = RCC_CLOCKTYPE_HCLK|RCC_CLOCKTYPE_SYSCLK
                              |RCC_CLOCKTYPE_PCLK1|RCC_CLOCKTYPE_PCLK2;
  RCC_ClkInitStruct.SYSCLKSource = RCC_SYSCLKSOURCE_PLLCLK;
  RCC_ClkInitStruct.AHBCLKDivider = RCC_SYSCLK_DIV1;
  RCC_ClkInitStruct.APB1CLKDivider = RCC_HCLK_DIV1;
  RCC_ClkInitStruct.APB2CLKDivider = RCC_HCLK_DIV1;

  if (HAL_RCC_ClockConfig(&RCC_ClkInitStruct, FLASH_LATENCY_4) != HAL_OK)
  {
    Error_Handler();
  }
}

/**
  * @brief NVIC Configuration.
  * @retval None
  */
static void MX_NVIC_Init(void)
{
  /* USART2_IRQn interrupt configuration */
  HAL_NVIC_SetPriority(USART2_IRQn, 3, 1);
  HAL_NVIC_EnableIRQ(USART2_IRQn);
  /* DMA1_Channel1_IRQn interrupt configuration */
  HAL_NVIC_SetPriority(DMA1_Channel1_IRQn, 3, 0);
  HAL_NVIC_EnableIRQ(DMA1_Channel1_IRQn);
  /* TIM1_BRK_TIM15_IRQn interrupt configuration */
  HAL_NVIC_SetPriority(TIM1_BRK_TIM15_IRQn, 4, 1);
  HAL_NVIC_EnableIRQ(TIM1_BRK_TIM15_IRQn);
  /* TIM1_UP_TIM16_IRQn interrupt configuration */
  HAL_NVIC_SetPriority(TIM1_UP_TIM16_IRQn, 0, 0);
  HAL_NVIC_EnableIRQ(TIM1_UP_TIM16_IRQn);
  /* ADC1_2_IRQn interrupt configuration */
  HAL_NVIC_SetPriority(ADC1_2_IRQn, 2, 0);
  HAL_NVIC_EnableIRQ(ADC1_2_IRQn);
  /* TIM2_IRQn interrupt configuration */
  HAL_NVIC_SetPriority(TIM2_IRQn, 3, 0);
  HAL_NVIC_EnableIRQ(TIM2_IRQn);
  /* EXTI15_10_IRQn interrupt configuration */
  HAL_NVIC_SetPriority(EXTI15_10_IRQn, 3, 0);
  HAL_NVIC_EnableIRQ(EXTI15_10_IRQn);
}

static void MX_ADC1_Init(void)
{

  ADC_MultiModeTypeDef multimode = {0};
  ADC_InjectionConfTypeDef sConfigInjected = {0};
  ADC_ChannelConfTypeDef sConfig = {0};

  /** Common config
  */
  hadc1.Instance = ADC1;
  hadc1.Init.ClockPrescaler = ADC_CLOCK_ASYNC_DIV1;
  hadc1.Init.Resolution = ADC_RESOLUTION_12B;
  hadc1.Init.DataAlign = ADC_DATAALIGN_LEFT;
  hadc1.Init.GainCompensation = 0;
  hadc1.Init.ScanConvMode = ADC_SCAN_ENABLE;
  hadc1.Init.EOCSelection = ADC_EOC_SINGLE_CONV;
  hadc1.Init.LowPowerAutoWait = DISABLE;
  hadc1.Init.ContinuousConvMode = DISABLE;
  hadc1.Init.NbrOfConversion = 2;
  hadc1.Init.DiscontinuousConvMode = DISABLE;
  hadc1.Init.ExternalTrigConv = ADC_SOFTWARE_START;
  hadc1.Init.ExternalTrigConvEdge = ADC_EXTERNALTRIGCONVEDGE_NONE;
  hadc1.Init.DMAContinuousRequests = DISABLE;
  hadc1.Init.Overrun = ADC_OVR_DATA_PRESERVED;
  hadc1.Init.OversamplingMode = DISABLE;
  if (HAL_ADC_Init(&hadc1) != HAL_OK)
  {
    Error_Handler();
  }

  /** Configure the ADC multi-mode
  */
  multimode.Mode = ADC_MODE_INDEPENDENT;
  if (HAL_ADCEx_MultiModeConfigChannel(&hadc1, &multimode) != HAL_OK)
  {
    Error_Handler();
  }

  /** Configure Injected Channel
  */
  sConfigInjected.InjectedChannel = ADC_CHANNEL_1;
  sConfigInjected.InjectedRank = ADC_INJECTED_RANK_1;
  sConfigInjected.InjectedSamplingTime = ADC_SAMPLETIME_6CYCLES_5;
  sConfigInjected.InjectedSingleDiff = ADC_SINGLE_ENDED;
  sConfigInjected.InjectedOffsetNumber = ADC_OFFSET_NONE;
  sConfigInjected.InjectedOffset = 0;
  sConfigInjected.InjectedNbrOfConversion = 2;
  sConfigInjected.InjectedDiscontinuousConvMode = DISABLE;
  sConfigInjected.AutoInjectedConv = DISABLE;
  sConfigInjected.QueueInjectedContext = DISABLE;
  sConfigInjected.ExternalTrigInjecConv = ADC_EXTERNALTRIGINJEC_T1_TRGO;
  sConfigInjected.ExternalTrigInjecConvEdge = ADC_EXTERNALTRIGINJECCONV_EDGE_RISING;
  sConfigInjected.InjecOversamplingMode = DISABLE;
  if (HAL_ADCEx_InjectedConfigChannel(&hadc1, &sConfigInjected) != HAL_OK)
  {
    Error_Handler();
  }

  /** Configure Injected Channel
  */
  sConfigInjected.InjectedChannel = ADC_CHANNEL_7;
  sConfigInjected.InjectedRank = ADC_INJECTED_RANK_2;
  if (HAL_ADCEx_InjectedConfigChannel(&hadc1, &sConfigInjected) != HAL_OK)
  {
    Error_Handler();
  }

  /** Configure Regular Channel
  */
  sConfig.Channel = ADC_CHANNEL_2;
  sConfig.Rank = ADC_REGULAR_RANK_1;
  sConfig.SamplingTime = ADC_SAMPLETIME_47CYCLES_5;
  sConfig.SingleDiff = ADC_SINGLE_ENDED;
  sConfig.OffsetNumber = ADC_OFFSET_NONE;
  sConfig.Offset = 0;
  if (HAL_ADC_ConfigChannel(&hadc1, &sConfig) != HAL_OK)
  {
    Error_Handler();
  }

  /** Configure Regular Channel
  */
  sConfig.Channel = ADC_CHANNEL_8;
  sConfig.Rank = ADC_REGULAR_RANK_2;
  if (HAL_ADC_ConfigChannel(&hadc1, &sConfig) != HAL_OK)
  {
    Error_Handler();
  }

}

static void MX_ADC2_Init(void)
{

  ADC_InjectionConfTypeDef sConfigInjected = {0};

  /** Common config
  */
  hadc2.Instance = ADC2;
  hadc2.Init.ClockPrescaler = ADC_CLOCK_ASYNC_DIV1;
  hadc2.Init.Resolution = ADC_RESOLUTION_12B;
  hadc2.Init.DataAlign = ADC_DATAALIGN_LEFT;
  hadc2.Init.GainCompensation = 0;
  hadc2.Init.ScanConvMode = ADC_SCAN_ENABLE;
  hadc2.Init.EOCSelection = ADC_EOC_SINGLE_CONV;
  hadc2.Init.LowPowerAutoWait = DISABLE;
  hadc2.Init.ContinuousConvMode = DISABLE;
  hadc2.Init.NbrOfConversion = 1;
  hadc2.Init.DiscontinuousConvMode = DISABLE;
  hadc2.Init.DMAContinuousRequests = DISABLE;
  hadc2.Init.Overrun = ADC_OVR_DATA_PRESERVED;
  hadc2.Init.OversamplingMode = DISABLE;
  if (HAL_ADC_Init(&hadc2) != HAL_OK)
  {
    Error_Handler();
  }

  /** Configure Injected Channel
  */
  sConfigInjected.InjectedChannel = ADC_CHANNEL_7;
  sConfigInjected.InjectedRank = ADC_INJECTED_RANK_1;
  sConfigInjected.InjectedSamplingTime = ADC_SAMPLETIME_6CYCLES_5;
  sConfigInjected.InjectedSingleDiff = ADC_SINGLE_ENDED;
  sConfigInjected.InjectedOffsetNumber = ADC_OFFSET_NONE;
  sConfigInjected.InjectedOffset = 0;
  sConfigInjected.InjectedNbrOfConversion = 2;
  sConfigInjected.InjectedDiscontinuousConvMode = DISABLE;
  sConfigInjected.AutoInjectedConv = DISABLE;
  sConfigInjected.QueueInjectedContext = DISABLE;
  sConfigInjected.ExternalTrigInjecConv = ADC_EXTERNALTRIGINJEC_T1_TRGO;
  sConfigInjected.ExternalTrigInjecConvEdge = ADC_EXTERNALTRIGINJECCONV_EDGE_RISING;
  sConfigInjected.InjecOversamplingMode = DISABLE;
  if (HAL_ADCEx_InjectedConfigChannel(&hadc2, &sConfigInjected) != HAL_OK)
  {
    Error_Handler();
  }

  /** Configure Injected Channel
  */
  sConfigInjected.InjectedChannel = ADC_CHANNEL_6;
  sConfigInjected.InjectedRank = ADC_INJECTED_RANK_2;
  if (HAL_ADCEx_InjectedConfigChannel(&hadc2, &sConfigInjected) != HAL_OK)
  {
    Error_Handler();
  }

}

static void MX_CORDIC_Init(void)
{

  hcordic.Instance = CORDIC;
  if (HAL_CORDIC_Init(&hcordic) != HAL_OK)
  {
    Error_Handler();
  }

}

static void MX_TIM1_Init(void)
{

  TIM_MasterConfigTypeDef sMasterConfig = {0};
  TIMEx_BreakInputConfigTypeDef sBreakInputConfig = {0};
  TIM_OC_InitTypeDef sConfigOC = {0};
  TIM_BreakDeadTimeConfigTypeDef sBreakDeadTimeConfig = {0};

  htim1.Instance = TIM1;
  htim1.Init.Prescaler = ((TIM_CLOCK_DIVIDER) - 1);
  htim1.Init.CounterMode = TIM_COUNTERMODE_CENTERALIGNED1;
  htim1.Init.Period = ((PWM_PERIOD_CYCLES) / 2);
  htim1.Init.ClockDivision = TIM_CLOCKDIVISION_DIV2;
  htim1.Init.RepetitionCounter = (REP_COUNTER);
  htim1.Init.AutoReloadPreload = TIM_AUTORELOAD_PRELOAD_DISABLE;
  if (HAL_TIM_PWM_Init(&htim1) != HAL_OK)
  {
    Error_Handler();
  }
  sMasterConfig.MasterOutputTrigger = TIM_TRGO_OC4REF;
  sMasterConfig.MasterOutputTrigger2 = TIM_TRGO2_RESET;
  sMasterConfig.MasterSlaveMode = TIM_MASTERSLAVEMODE_DISABLE;
  if (HAL_TIMEx_MasterConfigSynchronization(&htim1, &sMasterConfig) != HAL_OK)
  {
    Error_Handler();
  }
  sBreakInputConfig.Source = TIM_BREAKINPUTSOURCE_BKIN;
  sBreakInputConfig.Enable = TIM_BREAKINPUTSOURCE_ENABLE;
  sBreakInputConfig.Polarity = TIM_BREAKINPUTSOURCE_POLARITY_LOW;
  if (HAL_TIMEx_ConfigBreakInput(&htim1, TIM_BREAKINPUT_BRK, &sBreakInputConfig) != HAL_OK)
  {
    Error_Handler();
  }
  sConfigOC.OCMode = TIM_OCMODE_PWM1;
  sConfigOC.Pulse = ((PWM_PERIOD_CYCLES) / 4);
  sConfigOC.OCPolarity = TIM_OCPOLARITY_HIGH;
  sConfigOC.OCNPolarity = TIM_OCNPOLARITY_LOW;
  sConfigOC.OCFastMode = TIM_OCFAST_DISABLE;
  sConfigOC.OCIdleState = TIM_OCIDLESTATE_RESET;
  sConfigOC.OCNIdleState = TIM_OCNIDLESTATE_SET;
  if (HAL_TIM_PWM_ConfigChannel(&htim1, &sConfigOC, TIM_CHANNEL_1) != HAL_OK)
  {
    Error_Handler();
  }
  if (HAL_TIM_PWM_ConfigChannel(&htim1, &sConfigOC, TIM_CHANNEL_2) != HAL_OK)
  {
    Error_Handler();
  }
  if (HAL_TIM_PWM_ConfigChannel(&htim1, &sConfigOC, TIM_CHANNEL_3) != HAL_OK)
  {
    Error_Handler();
  }
  sConfigOC.OCMode = TIM_OCMODE_PWM2;
  sConfigOC.Pulse = (((PWM_PERIOD_CYCLES) / 2) - (HTMIN));
  sConfigOC.OCNPolarity = TIM_OCNPOLARITY_HIGH;
  sConfigOC.OCNIdleState = TIM_OCNIDLESTATE_RESET;
  if (HAL_TIM_PWM_ConfigChannel(&htim1, &sConfigOC, TIM_CHANNEL_4) != HAL_OK)
  {
    Error_Handler();
  }
  sBreakDeadTimeConfig.OffStateRunMode = TIM_OSSR_ENABLE;
  sBreakDeadTimeConfig.OffStateIDLEMode = TIM_OSSI_ENABLE;
  sBreakDeadTimeConfig.LockLevel = TIM_LOCKLEVEL_OFF;
  sBreakDeadTimeConfig.DeadTime = ((DEAD_TIME_COUNTS) / 2);
  sBreakDeadTimeConfig.BreakState = TIM_BREAK_ENABLE;
  sBreakDeadTimeConfig.BreakPolarity = TIM_BREAKPOLARITY_HIGH;
  sBreakDeadTimeConfig.BreakFilter = 3;
  sBreakDeadTimeConfig.BreakAFMode = TIM_BREAK_AFMODE_INPUT;
  sBreakDeadTimeConfig.Break2State = TIM_BREAK2_DISABLE;
  sBreakDeadTimeConfig.Break2Polarity = TIM_BREAK2POLARITY_HIGH;
  sBreakDeadTimeConfig.Break2Filter = 3;
  sBreakDeadTimeConfig.Break2AFMode = TIM_BREAK_AFMODE_INPUT;
  sBreakDeadTimeConfig.AutomaticOutput = TIM_AUTOMATICOUTPUT_DISABLE;
  if (HAL_TIMEx_ConfigBreakDeadTime(&htim1, &sBreakDeadTimeConfig) != HAL_OK)
  {
    Error_Handler();
  }
  HAL_TIM_MspPostInit(&htim1);

}

static void MX_TIM2_Init(void)
{

  TIM_Encoder_InitTypeDef sConfig = {0};
  TIM_MasterConfigTypeDef sMasterConfig = {0};

  htim2.Instance = TIM2;
  htim2.Init.Prescaler = 0;
  htim2.Init.CounterMode = TIM_COUNTERMODE_UP;
  htim2.Init.Period = M1_PULSE_NBR;
  htim2.Init.ClockDivision = TIM_CLOCKDIVISION_DIV1;
  htim2.Init.AutoReloadPreload = TIM_AUTORELOAD_PRELOAD_DISABLE;
  sConfig.EncoderMode = TIM_ENCODERMODE_TI12;
  sConfig.IC1Polarity = TIM_ICPOLARITY_RISING;
  sConfig.IC1Selection = TIM_ICSELECTION_DIRECTTI;
  sConfig.IC1Prescaler = TIM_ICPSC_DIV1;
  sConfig.IC1Filter = M1_ENC_IC_FILTER;
  sConfig.IC2Polarity = TIM_ICPOLARITY_RISING;
  sConfig.IC2Selection = TIM_ICSELECTION_DIRECTTI;
  sConfig.IC2Prescaler = TIM_ICPSC_DIV1;
  sConfig.IC2Filter = M1_ENC_IC_FILTER;
  if (HAL_TIM_Encoder_Init(&htim2, &sConfig) != HAL_OK)
  {
    Error_Handler();
  }
  sMasterConfig.MasterOutputTrigger = TIM_TRGO_RESET;
  sMasterConfig.MasterSlaveMode = TIM_MASTERSLAVEMODE_DISABLE;
  if (HAL_TIMEx_MasterConfigSynchronization(&htim2, &sMasterConfig) != HAL_OK)
  {
    Error_Handler();
  }

}

static void MX_USART2_UART_Init(void)
{

  huart_MD.Instance = USART2;
  huart_MD.Init.BaudRate = 115200;
  huart_MD.Init.WordLength = UART_WORDLENGTH_8B;
  huart_MD.Init.StopBits = UART_STOPBITS_1;
  huart_MD.Init.Parity = UART_PARITY_NONE;
  huart_MD.Init.Mode = UART_MODE_TX_RX;
  huart_MD.Init.HwFlowCtl = UART_HWCONTROL_NONE;
  huart_MD.Init.OverSampling = UART_OVERSAMPLING_16;
  huart_MD.Init.OneBitSampling = UART_ONE_BIT_SAMPLE_DISABLE;
  huart_MD.Init.ClockPrescaler = UART_PRESCALER_DIV1;
  huart_MD.AdvancedInit.AdvFeatureInit = UART_ADVFEATURE_NO_INIT;
  if (HAL_UART_Init(&huart_MD) != HAL_OK)
  {
    Error_Handler();
  }
  if (HAL_UARTEx_SetTxFifoThreshold(&huart_MD, UART_TXFIFO_THRESHOLD_1_8) != HAL_OK)
  {
    Error_Handler();
  }
  if (HAL_UARTEx_SetRxFifoThreshold(&huart_MD, UART_RXFIFO_THRESHOLD_1_8) != HAL_OK)
  {
    Error_Handler();
  }
  if (HAL_UARTEx_DisableFifoMode(&huart_MD) != HAL_OK)
  {
    Error_Handler();
  }

}

//static void MX_DMA_Init(void)
//{
//
//  /* DMA controller clock enable */
//  __HAL_RCC_DMAMUX1_CLK_ENABLE();
//  __HAL_RCC_DMA1_CLK_ENABLE();
//
//}

static void MX_GPIO_Init(void)
{
  GPIO_InitTypeDef GPIO_InitStruct = {0};

  /* GPIO Ports Clock Enable */
  __HAL_RCC_GPIOC_CLK_ENABLE();
  __HAL_RCC_GPIOF_CLK_ENABLE();
  __HAL_RCC_GPIOA_CLK_ENABLE();
  __HAL_RCC_GPIOB_CLK_ENABLE();

  /*Configure GPIO pin : Start_Stop_Pin */
  GPIO_InitStruct.Pin = Start_Stop_Pin;
  GPIO_InitStruct.Mode = GPIO_MODE_IT_FALLING;
  GPIO_InitStruct.Pull = GPIO_NOPULL;
  HAL_GPIO_Init(Start_Stop_GPIO_Port, &GPIO_InitStruct);

}

void Error_Handler(void)
{
  __disable_irq();
  while (1)
  {
  }
}
